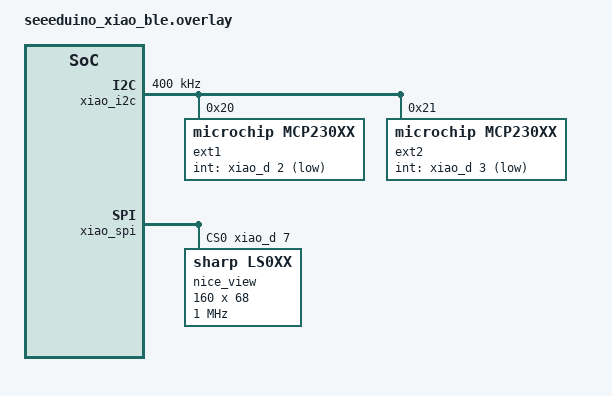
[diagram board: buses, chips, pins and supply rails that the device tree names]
&xiao_i2c {
    status = "okay";
    clock-frequency = <I2C_BITRATE_FAST>;

    ext1: mcp23017@20 {
        compatible = "microchip,mcp230xx";
        status = "okay";
        gpio-controller;
        reg = <0x20>;
        #gpio-cells = <2>;
        ngpios = <16>;
        int-gpios = <&xiao_d 2 GPIO_ACTIVE_LOW>;
    };
    ext2: mcp23017@21 {
        compatible = "microchip,mcp230xx";
        status = "okay";
        gpio-controller;
        reg = <0x21>;
        #gpio-cells = <2>;
        ngpios = <16>;
        int-gpios = <&xiao_d 3 GPIO_ACTIVE_LOW>;
    };
};

nice_view_spi: &xiao_spi {
    status = "okay";
    compatible = "nordic,nrf-spim";
    pinctrl-names = "default", "sleep";
    cs-gpios = <&xiao_d 7 GPIO_ACTIVE_HIGH>;
        nice_view: ls0xx@0 {
        compatible = "sharp,ls0xx";
        spi-max-frequency = <1000000>;
        reg = <0>;
        width = <160>;
        height = <68>;
    };
};
